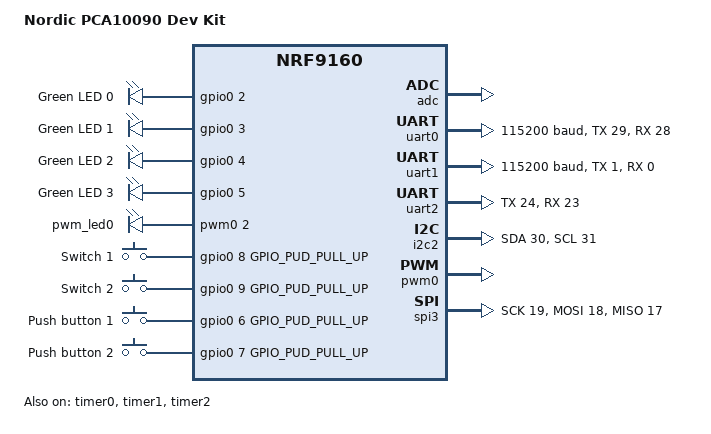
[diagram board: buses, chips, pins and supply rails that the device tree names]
/*
 * Copyright (c) 2018 Nordic Semiconductor ASA
 *
 * SPDX-License-Identifier: Apache-2.0
 */

/ {
	model = "Nordic PCA10090 Dev Kit";
	compatible = "nordic,pca10090-dk", "nordic,nrf9160-sica",
		     "nordic,nrf9160";

	chosen {
		zephyr,console = &uart0;
		zephyr,shell-uart = &uart0;
		zephyr,uart-mcumgr = &uart0;
	};

	leds {
		compatible = "gpio-leds";
		led0: led_0 {
			gpios = <&gpio0 2 GPIO_INT_ACTIVE_HIGH>;
			label = "Green LED 0";
		};
		led1: led_1 {
			gpios = <&gpio0 3 GPIO_INT_ACTIVE_HIGH>;
			label = "Green LED 1";
		};
		led2: led_2 {
			gpios = <&gpio0 4 GPIO_INT_ACTIVE_HIGH>;
			label = "Green LED 2";
		};
		led3: led_3 {
			gpios = <&gpio0 5 GPIO_INT_ACTIVE_HIGH>;
			label = "Green LED 3";
		};
	};

	pwmleds {
		compatible = "pwm-leds";
		pwm_led0: pwm_led_0 {
			pwms = <&pwm0 2>;
		};
	};

	buttons {
		compatible = "gpio-keys";
		button0: button_0 {
			gpios = <&gpio0 8 GPIO_PUD_PULL_UP>;
			label = "Switch 1";
		};
		button1: button_1 {
			gpios = <&gpio0 9 GPIO_PUD_PULL_UP>;
			label = "Switch 2";
		};
		button2: button_2 {
			gpios = <&gpio0 6 GPIO_PUD_PULL_UP>;
			label = "Push button 1";
		};
		button3: button_3 {
			gpios = <&gpio0 7 GPIO_PUD_PULL_UP>;
			label = "Push button 2";
		};
	};

	/* These aliases are provided for compatibility with samples */
	aliases {
		led0 = &led0;
		led1 = &led1;
		led2 = &led2;
		led3 = &led3;
		pwm-led0 = &pwm_led0;
		sw0 = &button2;
		sw1 = &button3;
		sw2 = &button0;
		sw3 = &button1;
	};
};

&adc {
	status = "okay";
};

&gpiote {
	status = "okay";
};

&gpio0 {
	status = "okay";
};

&uart0 {
	status = "okay";
	current-speed = <115200>;
	tx-pin = <29>;
	rx-pin = <28>;
	rts-pin = <27>;
	cts-pin = <26>;
};

&uart1 {
	status = "okay";
	current-speed = <115200>;
	tx-pin = <1>;
	rx-pin = <0>;
	rts-pin = <14>;
	cts-pin = <15>;
};

&uart2 {
	tx-pin = <24>;
	rx-pin = <23>;
};

&i2c2 {
	compatible = "nordic,nrf-twim";
	status = "okay";
	sda-pin = <30>;
	scl-pin = <31>;
};

&pwm0 {
	status = "okay";
	ch0-pin = <2>;
};

&spi3 {
	compatible = "nordic,nrf-spim";
	status = "okay";
	sck-pin = <19>;
	mosi-pin = <18>;
	miso-pin = <17>;
};

&timer0 {
	status = "okay";
};

&timer1 {
	status = "okay";
};

&timer2 {
	status = "okay";
};

&flash0 {
	/*
	 * For more information, see:
	 * http://docs.zephyrproject.org/latest/guides/dts/index.html#flash-partitions
	 */
	partitions {
		compatible = "fixed-partitions";
		#address-cells = <1>;
		#size-cells = <1>;

		boot_partition: partition@0 {
			label = "mcuboot";
			reg = <0x00000000 0x10000>;
		};
		slot0_partition: partition@10000 {
			label = "image-0";
		};
		slot0_ns_partition: partition@40000 {
			label = "image-0-nonsecure";
		};
		slot1_partition: partition@80000 {
			label = "image-1";
		};
		slot1_ns_partition: partition@b0000 {
			label = "image-1-nonsecure";
		};
		scratch_partition: partition@f0000 {
			label = "image-scratch";
			reg = <0x000f0000 0xa000>;
		};
		storage_partition: partition@fa000 {
			label = "storage";
			reg = <0x000fa000 0x00006000>;
		};
	};
};

/ {
	/* SRAM allocated and used by the BSD library */
	sram0_bsd: memory@20010000 {
		compatible = "mmio-sram";
	};

	/* SRAM allocated to the Non-Secure image */
	sram0_ns: memory@20020000 {
		compatible = "mmio-sram";
	};
};

/* Include partition configuration file */
#include "nrf9160_pca10090_partition_conf.dts"
